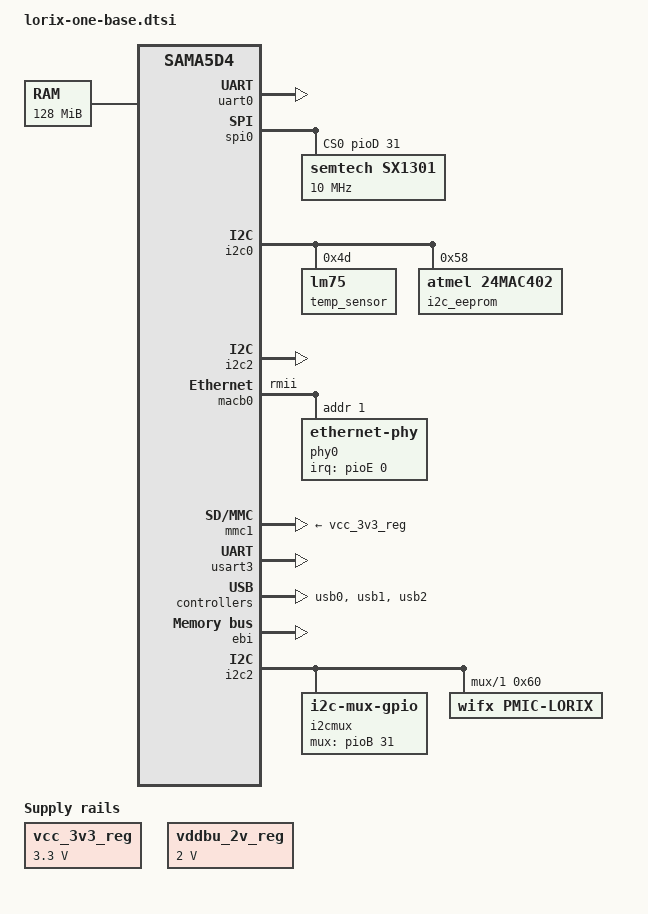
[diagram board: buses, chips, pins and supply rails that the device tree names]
/*
 * lorix-one-base.dtsi
 *  Device Tree file for the LORIX One (generic) LoRa gateway from
 *  Wifx Sàrl
 *
 * Based on at91-sama5d4_xplained.dts
 *  Device Tree file for SAMA5D4 Xplained board
 *
 *  Copyright (C) 2015 Atmel,
 *                2015 Josh Wu <josh.wu@atmel.com>
 *  Copyright (C) 2018-2020 Wifx,
 *                2018-2020 Yannick Lanz <yannick.lanz@wifx.net>
 *
 * This file is dual-licensed: you can use it either under the terms
 * of the GPL or the X11 license, at your option. Note that this dual
 * licensing only applies to this file, and not this project as a
 * whole.
 *
 *  a) This file is free software; you can redistribute it and/or
 *     modify it under the terms of the GNU General Public License as
 *     published by the Free Software Foundation; either version 2 of the
 *     License, or (at your option) any later version.
 *
 *     This file is distributed in the hope that it will be useful,
 *     but WITHOUT ANY WARRANTY; without even the implied warranty of
 *     MERCHANTABILITY or FITNESS FOR A PARTICULAR PURPOSE.  See the
 *     GNU General Public License for more details.
 *
 * Or, alternatively,
 *
 *  b) Permission is hereby granted, free of charge, to any person
 *     obtaining a copy of this software and associated documentation
 *     files (the "Software"), to deal in the Software without
 *     restriction, including without limitation the rights to use,
 *     copy, modify, merge, publish, distribute, sublicense, and/or
 *     sell copies of the Software, and to permit persons to whom the
 *     Software is furnished to do so, subject to the following
 *     conditions:
 *
 *     The above copyright notice and this permission notice shall be
 *     included in all copies or substantial portions of the Software.
 *
 *     THE SOFTWARE IS PROVIDED "AS IS", WITHOUT WARRANTY OF ANY KIND,
 *     EXPRESS OR IMPLIED, INCLUDING BUT NOT LIMITED TO THE WARRANTIES
 *     OF MERCHANTABILITY, FITNESS FOR A PARTICULAR PURPOSE AND
 *     NONINFRINGEMENT. IN NO EVENT SHALL THE AUTHORS OR COPYRIGHT
 *     HOLDERS BE LIABLE FOR ANY CLAIM, DAMAGES OR OTHER LIABILITY,
 *     WHETHER IN AN ACTION OF CONTRACT, TORT OR OTHERWISE, ARISING
 *     FROM, OUT OF OR IN CONNECTION WITH THE SOFTWARE OR THE USE OR
 *     OTHER DEALINGS IN THE SOFTWARE.
 */
#include "sama5d4.dtsi"

/ {
	compatible = "atmel,sama5d4", "atmel,sama5";

	chosen {
		stdout-path = "serial0:115200n8";
	};

	aliases {
		rtc0 = &rtc_internal;
		serial1 = &usart1;
		eth0 = &macb0;
	};

	memory {
		reg = <0x20000000 0x08000000>;
	};

	clocks {
		slow_xtal {
			clock-frequency = <32768>;
		};

		main_xtal {
			clock-frequency = <12000000>;
		};
	};

	ahb {
		apb {
			uart0: serial@f8004000 {
				atmel,use-dma-rx;
				atmel,use-dma-tx;
				status = "okay";
			};

			spi0: spi@f8010000 {
				cs-gpios = <&pioD 31 0>;
				status = "okay";
				sx1301@0 {
					compatible = "semtech,sx1301";
					spi-max-frequency = <10000000>;
					reg = <0>;
				};
			};

			i2c0: i2c@f8014000 {
				status = "okay";

				temp_sensor: lm75@4d {
					compatible = "lm75";
					reg = <0x4d>;
					status = "okay";
				};

				i2c_eeprom: i2c_eeprom@58 {
					compatible = "atmel,24mac402";
					reg = <0x58>;
					status = "okay";
				};
			};

			i2c2: i2c@f8024000 {
				status = "okay";

				#address-cells = <1>;
				#size-cells = <0>;
			};

			macb0: ethernet@f8020000 {
				phy-mode = "rmii";
				status = "okay";
				pinctrl-names = "default";
				pinctrl-0 = <&pinctrl_macb0_rmii &pinctrl_macb0_phy_irq>;

				phy0: ethernet-phy@1 {
					interrupt-parent = <&pioE>;
					interrupts = <0 IRQ_TYPE_LEVEL_LOW>;
					reg = <1>;
				};
			};

			mmc1: mmc@fc000000 {
				pinctrl-names = "default";
				pinctrl-0 = <&pinctrl_mmc1_clk_cmd_dat0 &pinctrl_mmc1_dat1_3 &pinctrl_mmc1_cd>;
				vmmc-supply = <&vcc_3v3_reg>;
				vqmmc-supply = <&vcc_3v3_reg>;
				status = "okay";
				slot@0 {
					reg = <0>;
					bus-width = <4>;
					cd-gpios = <&pioE 3 0>;
				};
			};

			usart3: serial@fc00c000 {
				atmel,use-dma-rx;
				atmel,use-dma-tx;
				status = "okay";
			};

			tcb0: timer@f801c000 {
				timer0: timer@0 {
					compatible = "atmel,tcb-timer";
					reg = <0>;
				};

				timer1: timer@1 {
					compatible = "atmel,tcb-timer";
					reg = <1>;
				};
			};

			/* disable unused TCB */
			tcb1: timer@fc020000 {
				status = "disabled";
			};
			tcb2: timer@fc024000 {
				status = "disabled";
			};

			watchdog@fc068640 {
				status = "okay";
			};

			rtc_internal:rtc@fc0686b0 {
				status = "okay";
			};

			pinctrl@fc06a000 {
				board {
					pinctrl_mmc1_cd: mmc1_cd {
						atmel,pins =
							<AT91_PIOE 3 AT91_PERIPH_GPIO AT91_PINCTRL_PULL_UP_DEGLITCH>;
					};
					pinctrl_usba_vbus: usba_vbus {
						atmel,pins =
							<AT91_PIOE 31 AT91_PERIPH_GPIO AT91_PINCTRL_DEGLITCH>;
					};
					pinctrl_usb_id: usb_id {
						atmel,pins =
							<AT91_PIOD 11 AT91_PERIPH_GPIO AT91_PINCTRL_PULL_UP_DEGLITCH>;
					};
					pinctrl_macb0_phy_irq: macb0_phy_irq_0 {
						atmel,pins =
							<AT91_PIOE 0 AT91_PERIPH_GPIO AT91_PINCTRL_PULL_UP_DEGLITCH>;
					};
					pinctrl_sx1301_rst: sx1301_rst {
						atmel,pins =
							<AT91_PIOA 1 AT91_PERIPH_GPIO AT91_PINCTRL_PULL_UP_DEGLITCH>;
					};
					pinctrl_sx1301_scanmode: sx1301_scanmode {
						atmel,pins =
							<AT91_PIOA 2 AT91_PERIPH_GPIO AT91_PINCTRL_PULL_DOWN>;
					};
				};
			};
		};

		usb0: gadget@400000 {
			atmel,vbus-gpio = <&pioE 31 GPIO_ACTIVE_HIGH>;
			atmel,id-gpio = <&pioD 11 GPIO_ACTIVE_HIGH>;
			pinctrl-names = "default";
			pinctrl-0 = <&pinctrl_usba_vbus>;
			status = "okay";
		};

		usb1: ohci@500000 {
			num-ports = <3>;
			atmel,vbus-gpio = <&pioD 12 GPIO_ACTIVE_HIGH
				0
				0
			>;
			atmel,id-gpio = <&pioD 11 GPIO_ACTIVE_HIGH
				0
				0
			>;
			pinctrl-names = "default";
			pinctrl-0 = <&pinctrl_usb_id>;
			status = "okay";
		};

		usb2: ehci@600000 {
			status = "okay";
		};

		ebi: ebi@10000000 {
			pinctrl-0 = <&pinctrl_ebi_cs3 &pinctrl_ebi_nrd_nandoe
					 &pinctrl_ebi_nwe_nandwe &pinctrl_ebi_nandrdy
					 &pinctrl_ebi_data_0_7 &pinctrl_ebi_nand_addr>;
			pinctrl-names = "default";
			status = "okay";
		};
	};

	i2cmux {
		compatible = "i2c-mux-gpio";
		#address-cells = <1>;
		#size-cells = <0>;
		mux-gpios = <&pioB 31 GPIO_ACTIVE_HIGH>;
		i2c-parent = <&i2c2>;
		idle-state = <0>;

		i2c@1 {
			reg = <1>;
			#address-cells = <1>;
			#size-cells = <0>;

			pmic-lorix@60 {
				compatible = "wifx,pmic-lorix";
				reg = <0x60>;

				leds {
					compatible = "wifx,pmic-lorix-led";
					#address-cells = <1>;
					#size-cells = <0>;
					led-control = <0x000 0x000 0x0e0 0x000>;

					sysled {
						reg = <0>;
						label = "status";
						linux,default-trigger = "heartbeat";
					};
				};
			};
		};
	};

    vcc_3v3_reg: fixedregulator_3v3 {
		compatible = "regulator-fixed";
		regulator-name = "VCC 3V3";
		regulator-min-microvolt = <3300000>;
		regulator-max-microvolt = <3300000>;
		regulator-boot-on;
		regulator-always-on;
	};

	vddbu_2v_reg: fixedregulator@0 {
		compatible = "regulator-fixed";
		regulator-name = "VDDBU 2V";
		regulator-min-microvolt = <2000000>;
		regulator-max-microvolt = <2000000>;
		regulator-boot-on;
		regulator-always-on;
	};
};
